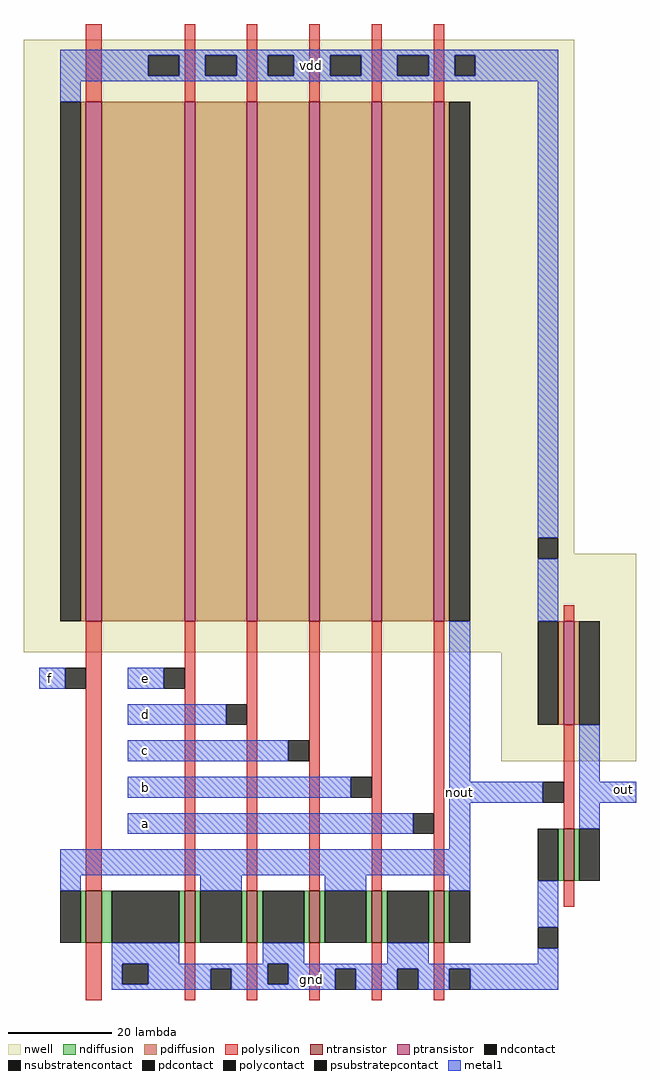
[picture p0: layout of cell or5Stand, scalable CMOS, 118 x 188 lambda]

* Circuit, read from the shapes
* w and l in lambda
.subckt or5Stand a b c d e f gnd nout out vdd
M1 gnd f nout gnd nfet w=10 l=3
M2 nout e gnd gnd nfet w=10 l=2
M3 gnd d nout gnd nfet w=10 l=2
M4 nout c gnd gnd nfet w=10 l=2
M5 gnd b nout gnd nfet w=10 l=2
M6 nout a gnd gnd nfet w=10 l=2
M7 out nout gnd gnd nfet w=10 l=2
M8 n1 f vdd vdd pfet w=100 l=3
M9 n2 e n1 vdd pfet w=100 l=2
M10 n3 d n2 vdd pfet w=100 l=2
M11 n4 c n3 vdd pfet w=100 l=2
M12 n5 b n4 vdd pfet w=100 l=2
M13 nout a n5 vdd pfet w=100 l=2
M14 out nout vdd vdd pfet w=20 l=2
.ends

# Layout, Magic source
magic
tech scmos
<< nwell >>
rect -20 84 86 183
rect -20 65 98 84
rect 72 44 98 65
<< ntransistor >>
rect 84 21 86 31
rect -8 9 -5 19
rect 11 9 13 19
rect 23 9 25 19
rect 35 9 37 19
rect 47 9 49 19
rect 59 9 61 19
<< ptransistor >>
rect -8 71 -5 171
rect 11 71 13 171
rect 23 71 25 171
rect 35 71 37 171
rect 47 71 49 171
rect 59 71 61 171
rect 84 51 86 71
<< ndiffusion >>
rect 83 21 84 31
rect 86 21 87 31
rect -9 9 -8 19
rect -5 9 -3 19
rect 10 9 11 19
rect 13 9 14 19
rect 22 9 23 19
rect 25 9 26 19
rect 34 9 35 19
rect 37 9 38 19
rect 46 9 47 19
rect 49 9 50 19
rect 58 9 59 19
rect 61 9 62 19
<< pdiffusion >>
rect -9 71 -8 171
rect -5 71 11 171
rect 13 71 23 171
rect 25 71 35 171
rect 37 71 47 171
rect 49 71 59 171
rect 61 71 62 171
rect 83 51 84 71
rect 86 51 87 71
<< ndcontact >>
rect 79 21 83 31
rect 87 21 91 31
rect -13 9 -9 19
rect -3 9 10 19
rect 14 9 22 19
rect 26 9 34 19
rect 38 9 46 19
rect 50 9 58 19
rect 62 9 66 19
<< pdcontact >>
rect -13 71 -9 171
rect 62 71 66 171
rect 79 51 83 71
rect 87 51 91 71
<< psubstratepcontact >>
rect -1 1 4 5
rect 16 0 20 4
rect 27 1 31 5
rect 40 0 44 4
rect 52 0 56 4
rect 79 8 83 12
rect 62 0 66 4
<< nsubstratencontact >>
rect 4 176 10 180
rect 15 176 21 180
rect 27 176 32 180
rect 39 176 45 180
rect 52 176 58 180
rect 63 176 67 180
rect 79 83 83 87
<< polysilicon >>
rect -8 171 -5 186
rect 11 171 13 186
rect 23 171 25 186
rect 35 171 37 186
rect 47 171 49 186
rect 59 171 61 186
rect 84 71 86 74
rect -8 19 -5 71
rect 11 19 13 71
rect 23 19 25 71
rect 35 19 37 71
rect 47 19 49 71
rect 59 19 61 71
rect 84 31 86 51
rect 84 16 86 21
rect -8 -2 -5 9
rect 11 -2 13 9
rect 23 -2 25 9
rect 35 -2 37 9
rect 47 -2 49 9
rect 59 -2 61 9
<< polycontact >>
rect -12 58 -8 62
rect 7 58 11 62
rect 19 51 23 55
rect 31 44 35 48
rect 43 37 47 41
rect 55 30 59 34
rect 80 36 84 40
<< metal1 >>
rect -13 180 83 181
rect -13 176 4 180
rect 10 176 15 180
rect 21 176 27 180
rect 32 176 39 180
rect 45 176 52 180
rect 58 176 63 180
rect 67 176 83 180
rect -13 175 83 176
rect -13 171 -9 175
rect -17 58 -12 62
rect 0 58 7 62
rect 0 51 19 55
rect 0 44 31 48
rect 0 37 43 41
rect 62 40 66 71
rect 79 87 83 175
rect 79 71 83 83
rect 87 40 91 51
rect 62 36 80 40
rect 87 36 98 40
rect 0 30 55 34
rect 62 27 66 36
rect 87 31 91 36
rect -13 22 66 27
rect -13 19 -9 22
rect 14 19 22 22
rect 38 19 46 22
rect 62 19 66 22
rect 79 12 83 21
rect -3 5 10 9
rect 26 5 34 9
rect 50 5 58 9
rect 79 5 83 8
rect -3 1 -1 5
rect 4 4 27 5
rect 4 1 16 4
rect -3 0 16 1
rect 20 1 27 4
rect 31 4 83 5
rect 31 1 40 4
rect 20 0 40 1
rect 44 0 52 4
rect 56 0 62 4
rect 66 0 83 4
<< labels >>
rlabel metal1 34 1 37 3 1 gnd
rlabel metal1 2 31 5 33 3 a
rlabel metal1 2 38 5 40 3 b
rlabel metal1 2 45 5 47 3 c
rlabel metal1 2 52 5 54 3 d
rlabel metal1 2 59 5 61 3 e
rlabel metal1 34 177 37 179 5 vdd
rlabel metal1 93 38 98 39 7 out
rlabel metal1 63 37 65 39 1 nout
rlabel metal1 -16 59 -14 61 3 f
<< end >>
